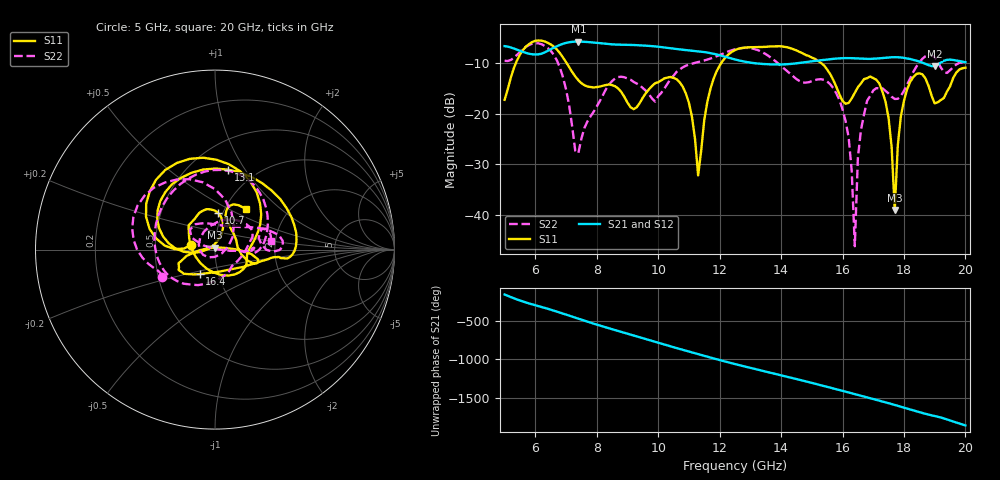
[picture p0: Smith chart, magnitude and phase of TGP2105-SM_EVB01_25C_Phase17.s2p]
! Date: Wednesday, June 05, 2013  1:50 PM
! Filename: C:\Data\Mike_Arnold\TGP2105-SM\Over_Temp\TGP2105-SM_EVB01_25C_Phase17.s2p
! Comments:
!^VDC(V):5.000
!^VDC(mA):0.035
!%Freq(GHz),S11(dB),S11(ang),S21(dB),S21(ang),S12(dB),S12(ang),S22(dB),S22(ang)
# GHz  S  DB  R  50
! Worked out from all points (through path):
!   151 points, 5 GHz to 20 GHz, reference 50 ohm
!   highest |S21| = -5.78 dB at 7.4 GHz (marker M1); lowest = -10.6 dB at 19 GHz (marker M2)
!   group delay of S21, straight-line fit = 306 ps
!   lowest |S11| = -39.0 dB at 17.7 GHz (marker M3), VSWR 1.02, Z = 50.1 + j1.12 ohm
!   |S11| at or under -10 dB: start of sweep to 5.369 GHz; 7.018 GHz to 12.05 GHz (5.037 GHz wide, 52.8 % of centre); 15.3 GHz to end of sweep
!   |S22| runs from -46.1 to -6.1 dB; largest |S21 - S12| = 0.002
!   S11 on the Smith chart (normalised r, x): 5 GHz: 0.76, +0.04; 10.7 GHz: 0.96, +0.40; 13.1 GHz: 0.75, +0.84; 16.4 GHz: 0.81, -0.23; 20 GHz: 1.24, +0.61
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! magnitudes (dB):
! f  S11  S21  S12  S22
! 5 GHz  -17.3  -6.7  -6.7  -9.6
! 6.5 GHz  -6.3  -7.3  -7.3  -7.6
! 7.4 GHz  -13.4  -5.8  -5.8  -27.8
! 7.5 GHz  -14.0  -5.8  -5.8  -24.9
! 8.6 GHz  -14.6  -6.4  -6.4  -13.0
! 10 GHz  -13.8  -6.8  -6.8  -16.6
! 10.7 GHz  -13.8  -7.3  -7.3  -11.3
! 11.3 GHz  -32.2  -7.7  -7.7  -9.8
! 11.7 GHz  -15.1  -8.1  -8.1  -9.1
! 12.5 GHz  -7.5  -9.3  -9.3  -7.3
! 13.1 GHz  -6.9  -10.0  -10.0  -7.2
! 15 GHz  -8.9  -9.7  -9.7  -13.6
! 16 GHz  -17.5  -9.1  -9.1  -19.1
! 16.3 GHz  -17.0  -9.1  -9.1  -31.4
! 16.4 GHz  -15.9  -9.1  -9.1  -46.1
! 16.5 GHz  -14.8  -9.1  -9.1  -28.7
! 16.7 GHz  -13.2  -9.2  -9.2  -20.2
! 17.5 GHz  -20.9  -8.9  -8.9  -16.0
! 17.7 GHz  -39.0  -8.9  -8.9  -17.1
! 18.1 GHz  -15.2  -9.1  -9.1  -14.3
! 19 GHz  -18.0  -10.6  -10.7  -8.9
! 20 GHz  -10.9  -9.8  -9.9  -10.0
